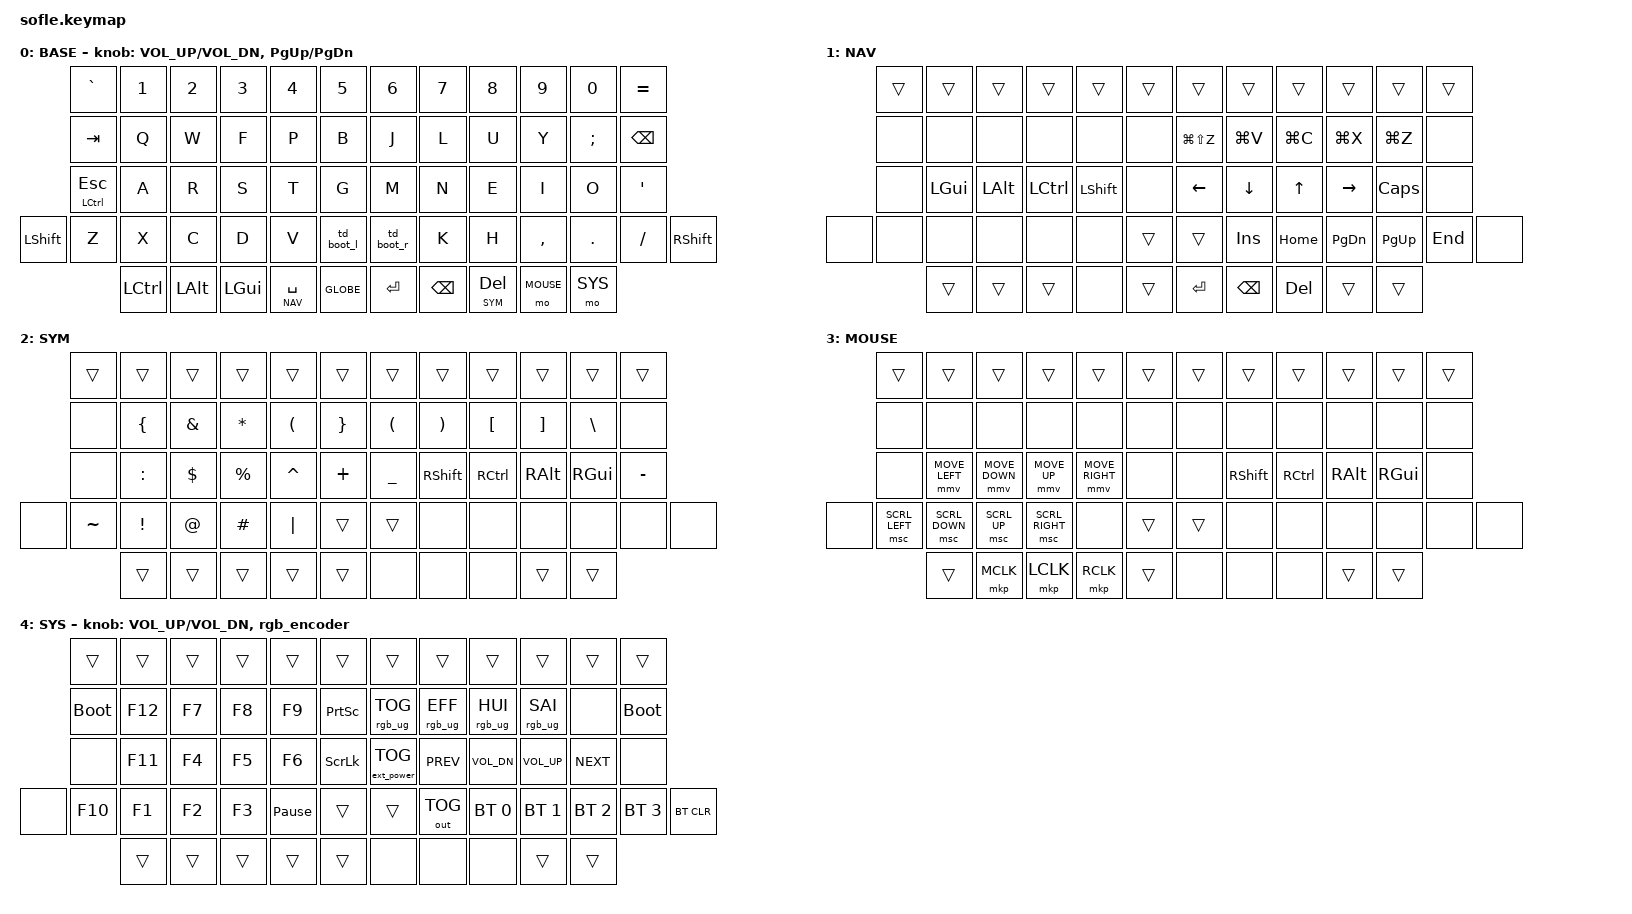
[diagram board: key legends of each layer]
/*
 * Copyright (c) 2020 The ZMK Contributors
 *
 * SPDX-License-Identifier: MIT
 */

//
//   Miryoku-style layout — COLEMAK-DH base, NO home row mods
//   Adapted from the Corne config for Sofle (6x4 + thumbs + encoders, 60 keys)
//
//   Layer 0: BASE   — Colemak-DH + number row. Left thumbs: Ctrl Opt Cmd Space/NAV Globe
//                      Right thumbs: Enter Backspace Delete/SYM MOUSE(hold) SYS(hold)
//                      encoder knob x3 = bootloader for that half (no reset button needed)
//   Layer 1: NAV    — arrows on M N E I, Home/End/PgUp/PgDn, undo/cut/copy/paste (hold SPACE)
//   Layer 2: SYM    — symbols left hand, ( ) [ ] \ _ - right hand (hold DELETE, R3)
//   Layer 3: MOUSE  — cursor on A R S T, scroll on Z X C D, clicks on left thumbs (hold R4)
//   Layer 4: SYS    — F-keys left hand; lights / Bluetooth / LED power / install keys right hand (hold R5)

#include <behaviors.dtsi>
#include <dt-bindings/zmk/bt.h>
#include <dt-bindings/zmk/ext_power.h>
#include <dt-bindings/zmk/keys.h>
#include <dt-bindings/zmk/outputs.h>
#include <dt-bindings/zmk/pointing.h>
#include <dt-bindings/zmk/rgb.h>

#define BASE  0
#define NAV   1
#define SYM   2
#define MOUSE 3
#define SYS   4

// Sofle key positions (60 keys):
// Row 0 (num):    0  1  2  3  4  5      6  7  8  9 10 11
// Row 1 (alpha): 12 13 14 15 16 17     18 19 20 21 22 23
// Row 2 (home):  24 25 26 27 28 29     30 31 32 33 34 35
// Row 3 (bottom):36 37 38 39 40 41 42 43 44 45 46 47 48 49
// Row 4 (thumb):          50 51 52 53 54 55 56 57 58 59
//   (42/43 = inner thumb keys by the encoders; 50/51 & 58/59 = outer thumbs)

&mt {
    flavor = "tap-preferred";
    tapping-term-ms = <200>;
    quick-tap-ms = <175>;
    require-prior-idle-ms = <150>;
};

&lt {
    flavor = "balanced";
    tapping-term-ms = <200>;
    quick-tap-ms = <175>;
};

/ {
    combos {
        compatible = "zmk,combos";

        // -- Tier 1: Essential --

        combo_caps_word {
            bindings = <&caps_word>;
            key-positions = <28 31>;        // F + J (index home row)
            timeout-ms = <30>;
            require-prior-idle-ms = <150>;
        };

        combo_esc {
            bindings = <&kp ESC>;
            key-positions = <14 15>;        // W + E
            timeout-ms = <30>;
            require-prior-idle-ms = <150>;
        };

        combo_bspc {
            bindings = <&kp BSPC>;
            key-positions = <20 21>;        // I + O
            timeout-ms = <30>;
            require-prior-idle-ms = <150>;
        };

        combo_del {
            bindings = <&kp DEL>;
            key-positions = <21 22>;        // O + P
            timeout-ms = <30>;
            require-prior-idle-ms = <150>;
        };

        // -- Tier 2: High Value --

        combo_tab {
            bindings = <&kp TAB>;
            key-positions = <26 27>;        // S + D
            timeout-ms = <30>;
            require-prior-idle-ms = <150>;
        };

        combo_enter {
            bindings = <&kp RET>;
            key-positions = <32 33>;        // K + L
            timeout-ms = <30>;
            require-prior-idle-ms = <150>;
        };

        combo_copy {
            bindings = <&kp LG(C)>;
            key-positions = <38 39>;        // X + C
            timeout-ms = <30>;
            require-prior-idle-ms = <150>;
        };

        combo_paste {
            bindings = <&kp LG(V)>;
            key-positions = <39 40>;        // C + V
            timeout-ms = <30>;
            require-prior-idle-ms = <150>;
        };

        combo_cut {
            bindings = <&kp LG(X)>;
            key-positions = <38 40>;        // X + V (skip middle)
            timeout-ms = <30>;
            require-prior-idle-ms = <150>;
        };

        // -- Tier 3: Vertical Symbol Combos --

        combo_minus {
            bindings = <&kp MINUS>;
            key-positions = <31 45>;        // J + M (right index vertical)
            timeout-ms = <40>;
            require-prior-idle-ms = <100>;
        };

        combo_underscore {
            bindings = <&kp UNDER>;
            key-positions = <30 44>;        // H + N (right inner vertical)
            timeout-ms = <40>;
            require-prior-idle-ms = <100>;
        };

        combo_equal {
            bindings = <&kp EQUAL>;
            key-positions = <28 40>;        // F + V (left index vertical)
            timeout-ms = <40>;
            require-prior-idle-ms = <100>;
        };

        combo_grave {
            bindings = <&kp GRAVE>;
            key-positions = <26 38>;        // S + X (left ring vertical)
            timeout-ms = <40>;
            require-prior-idle-ms = <100>;
        };
    };

    macros {
        hyper: hyper {
            compatible = "zmk,behavior-macro";
            #binding-cells = <0>;
            bindings =
                <&macro_press &kp LGUI &kp LALT &kp LCTRL &kp LSHFT>,
                <&macro_pause_for_release>,
                <&macro_release &kp LGUI &kp LALT &kp LCTRL &kp LSHFT>;
        };
    };

    behaviors {
        // Software reset buttons: click the encoder knob 3x fast to put THAT half
        // into the bootloader. 1x/2x keep the knob's normal function. Tap-dance
        // forwards the originating half, so each knob resets its own side.
        td_boot_l: td_boot_l {
            compatible = "zmk,behavior-tap-dance";
            #binding-cells = <0>;
            tapping-term-ms = <300>;
            bindings = <&kp C_MUTE>, <&kp C_MUTE>, <&bootloader>;
        };
        td_boot_r: td_boot_r {
            compatible = "zmk,behavior-tap-dance";
            #binding-cells = <0>;
            tapping-term-ms = <300>;
            bindings = <&kp C_PP>, <&kp C_PP>, <&bootloader>;
        };

        // Encoder RGB brightness control (rgb_ug cannot be a sensor binding directly)
        rgb_encoder: rgb_encoder {
            compatible = "zmk,behavior-sensor-rotate";
            #sensor-binding-cells = <0>;
            bindings = <&rgb_ug RGB_BRI>, <&rgb_ug RGB_BRD>;
        };
    };

    keymap {
        compatible = "zmk,keymap";

        base_layer {
            display-name = "BASE";
            bindings = <
&kp GRAVE  &kp N1  &kp N2  &kp N3  &kp N4  &kp N5     &kp N6  &kp N7  &kp N8  &kp N9  &kp N0  &kp EQUAL
&kp TAB  &kp Q  &kp W  &kp F  &kp P  &kp B     &kp J  &kp L  &kp U  &kp Y  &kp SEMI  &kp BSPC
&mt LCTRL ESC  &kp A  &kp R  &kp S  &kp T  &kp G     &kp M  &kp N  &kp E  &kp I  &kp O  &kp SQT
&kp LSHFT  &kp Z  &kp X  &kp C  &kp D  &kp V  &td_boot_l  &td_boot_r  &kp K  &kp H  &kp COMMA  &kp DOT  &kp FSLH  &kp RSHFT
                                       &kp LCTRL  &kp LALT  &kp LGUI  &lt NAV SPACE  &kp GLOBE  &kp RET  &kp BSPC  &lt SYM DEL  &mo MOUSE  &mo SYS
            >;

            sensor-bindings = <&inc_dec_kp C_VOL_UP C_VOL_DN &inc_dec_kp PG_UP PG_DN>;
        };

        nav_layer {
            display-name = "NAV";
            bindings = <
&trans  &trans  &trans  &trans  &trans  &trans     &trans  &trans  &trans  &trans  &trans  &trans
&none  &none  &none  &none  &none  &none     &kp LG(LS(Z))  &kp LG(V)  &kp LG(C)  &kp LG(X)  &kp LG(Z)  &none
&none  &kp LGUI  &kp LALT  &kp LCTRL  &kp LSHFT  &none     &kp LEFT  &kp DOWN  &kp UP  &kp RIGHT  &kp CAPS  &none
&none  &none  &none  &none  &none  &none  &trans  &trans  &kp INS  &kp HOME  &kp PG_DN  &kp PG_UP  &kp END  &none
                                       &trans  &trans  &trans  &none  &trans  &kp RET  &kp BSPC  &kp DEL  &trans  &trans
            >;
        };

        sym_layer {
            display-name = "SYM";
            bindings = <
&trans  &trans  &trans  &trans  &trans  &trans     &trans  &trans  &trans  &trans  &trans  &trans
&none  &kp LBRC  &kp AMPS  &kp ASTRK  &kp LPAR  &kp RBRC     &kp LPAR  &kp RPAR  &kp LBKT  &kp RBKT  &kp BSLH  &none
&none  &kp COLON  &kp DLLR  &kp PRCNT  &kp CARET  &kp PLUS     &kp UNDER  &kp RSHFT  &kp RCTRL  &kp RALT  &kp RGUI  &kp MINUS
&none  &kp TILDE  &kp EXCL  &kp AT  &kp HASH  &kp PIPE  &trans  &trans  &none  &none  &none  &none  &none  &none
                                       &trans  &trans  &trans  &trans  &trans  &none  &none  &none  &trans  &trans
            >;
        };

        mouse_layer {
            display-name = "MOUSE";
            bindings = <
&trans  &trans  &trans  &trans  &trans  &trans     &trans  &trans  &trans  &trans  &trans  &trans
&none  &none  &none  &none  &none  &none     &none  &none  &none  &none  &none  &none
&none  &mmv MOVE_LEFT  &mmv MOVE_DOWN  &mmv MOVE_UP  &mmv MOVE_RIGHT  &none     &none  &kp RSHFT  &kp RCTRL  &kp RALT  &kp RGUI  &none
&none  &msc SCRL_LEFT  &msc SCRL_DOWN  &msc SCRL_UP  &msc SCRL_RIGHT  &none  &trans  &trans  &none  &none  &none  &none  &none  &none
                                       &trans  &mkp MCLK  &mkp LCLK  &mkp RCLK  &trans  &none  &none  &none  &trans  &trans
            >;
        };

        sys_layer {
            display-name = "SYS";
            bindings = <
&trans  &trans  &trans  &trans  &trans  &trans     &trans  &trans  &trans  &trans  &trans  &trans
&bootloader  &kp F12  &kp F7  &kp F8  &kp F9  &kp PSCRN     &rgb_ug RGB_TOG  &rgb_ug RGB_EFF  &rgb_ug RGB_HUI  &rgb_ug RGB_SAI  &none  &bootloader
&none  &kp F11  &kp F4  &kp F5  &kp F6  &kp SLCK     &ext_power EP_TOG  &kp C_PREV  &kp C_VOL_DN  &kp C_VOL_UP  &kp C_NEXT  &none
&none  &kp F10  &kp F1  &kp F2  &kp F3  &kp PAUSE_BREAK  &trans  &trans  &out OUT_TOG  &bt BT_SEL 0  &bt BT_SEL 1  &bt BT_SEL 2  &bt BT_SEL 3  &bt BT_CLR
                                       &trans  &trans  &trans  &trans  &trans  &none  &none  &none  &trans  &trans
            >;

            sensor-bindings = <&inc_dec_kp C_VOL_UP C_VOL_DN &rgb_encoder>;
        };
    };
};
